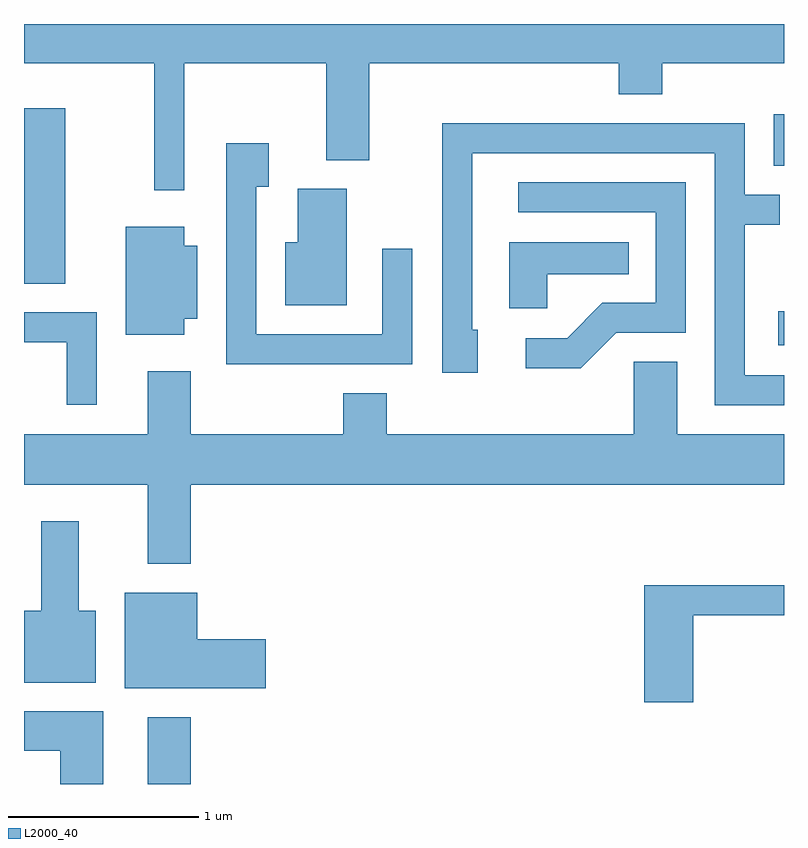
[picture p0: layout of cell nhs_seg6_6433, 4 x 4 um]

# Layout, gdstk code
import gdstk
lib = gdstk.Library(unit=1e-6, precision=1e-09)
def R(c, l, rs):  # rectangles x0, y0, x1, y1
    for r in rs: c.add(gdstk.rectangle(r[:2], r[2:], *l))
def P(c, l, *ps):  # polygons
    for p in ps: c.add(gdstk.Polygon(p, *l))
L2000_40 = (2000, 40)

nhs_seg6_6433 = lib.new_cell('nhs_seg6_6433')
R(nhs_seg6_6433, L2000_40, [(380.261,1626.162,380.489,1626.514), (383.581,1628.471,383.611,1628.649), (379.611,1628.796,379.829,1629.719), (383.556,1629.416,383.611,1629.688)])
P(nhs_seg6_6433, L2000_40, [(380.454,1629.956),(381.201,1629.956),(381.201,1629.446),(381.429,1629.446),(381.429,1629.956),(382.741,1629.956),(382.741,1629.791),(382.969,1629.791),(382.969,1629.956),(383.611,1629.956),(383.611,1630.162),(379.611,1630.162),(379.611,1629.956),(380.296,1629.956),(380.296,1629.288),(380.454,1629.288)],
  [(383.611,1628.314),(383.404,1628.314),(383.404,1629.106),(383.588,1629.106),(383.588,1629.264),(383.404,1629.264),(383.404,1629.639),(381.811,1629.639),(381.811,1628.326),(381.999,1628.326),(381.999,1628.554),(381.969,1628.554),(381.969,1629.481),(383.246,1629.481),(383.246,1628.156),(383.611,1628.156)],
  [(381.654,1628.978),(381.496,1628.978),(381.496,1628.529),(380.834,1628.529),(380.834,1629.306),(380.899,1629.306),(380.899,1629.534),(380.676,1629.534),(380.676,1628.371),(381.654,1628.371)],
  [(382.727,1628.536),(383.094,1628.536),(383.094,1629.329),(382.213,1629.329),(382.213,1629.171),(382.936,1629.171),(382.936,1628.694),(382.654,1628.694),(382.469,1628.509),(382.253,1628.509),(382.253,1628.351),(382.542,1628.351)],
  [(381.309,1629.294),(381.051,1629.294),(381.051,1629.014),(380.986,1629.014),(380.986,1628.681),(381.309,1628.681)],
  [(380.454,1628.611),(380.524,1628.611),(380.524,1628.994),(380.454,1628.994),(380.454,1629.094),(380.146,1629.094),(380.146,1628.526),(380.454,1628.526)],
  [(382.364,1628.846),(382.793,1628.846),(382.793,1629.014),(382.166,1629.014),(382.166,1628.666),(382.364,1628.666)],
  [(379.994,1628.644),(379.611,1628.644),(379.611,1628.486),(379.836,1628.486),(379.836,1628.158),(379.994,1628.158)],
  [(380.489,1627.736),(383.611,1627.736),(383.611,1628.004),(383.049,1628.004),(383.049,1628.384),(382.821,1628.384),(382.821,1628.004),(381.519,1628.004),(381.519,1628.219),(381.291,1628.219),(381.291,1628.004),(380.489,1628.004),(380.489,1628.334),(380.261,1628.334),(380.261,1628.004),(379.611,1628.004),(379.611,1627.736),(380.261,1627.736),(380.261,1627.321),(380.489,1627.321)],
  [(379.989,1627.074),(379.899,1627.074),(379.899,1627.544),(379.701,1627.544),(379.701,1627.074),(379.611,1627.074),(379.611,1626.696),(379.989,1626.696)],
  [(383.134,1627.051),(383.611,1627.051),(383.611,1627.209),(382.876,1627.209),(382.876,1626.591),(383.134,1626.591)],
  [(380.884,1626.924),(380.524,1626.924),(380.524,1627.169),(380.141,1627.169),(380.141,1626.666),(380.884,1626.666)],
  [(380.029,1626.544),(379.611,1626.544),(379.611,1626.336),(379.801,1626.336),(379.801,1626.162),(380.029,1626.162)])

lib.write_gds('nhs_seg6_6433.gds')
